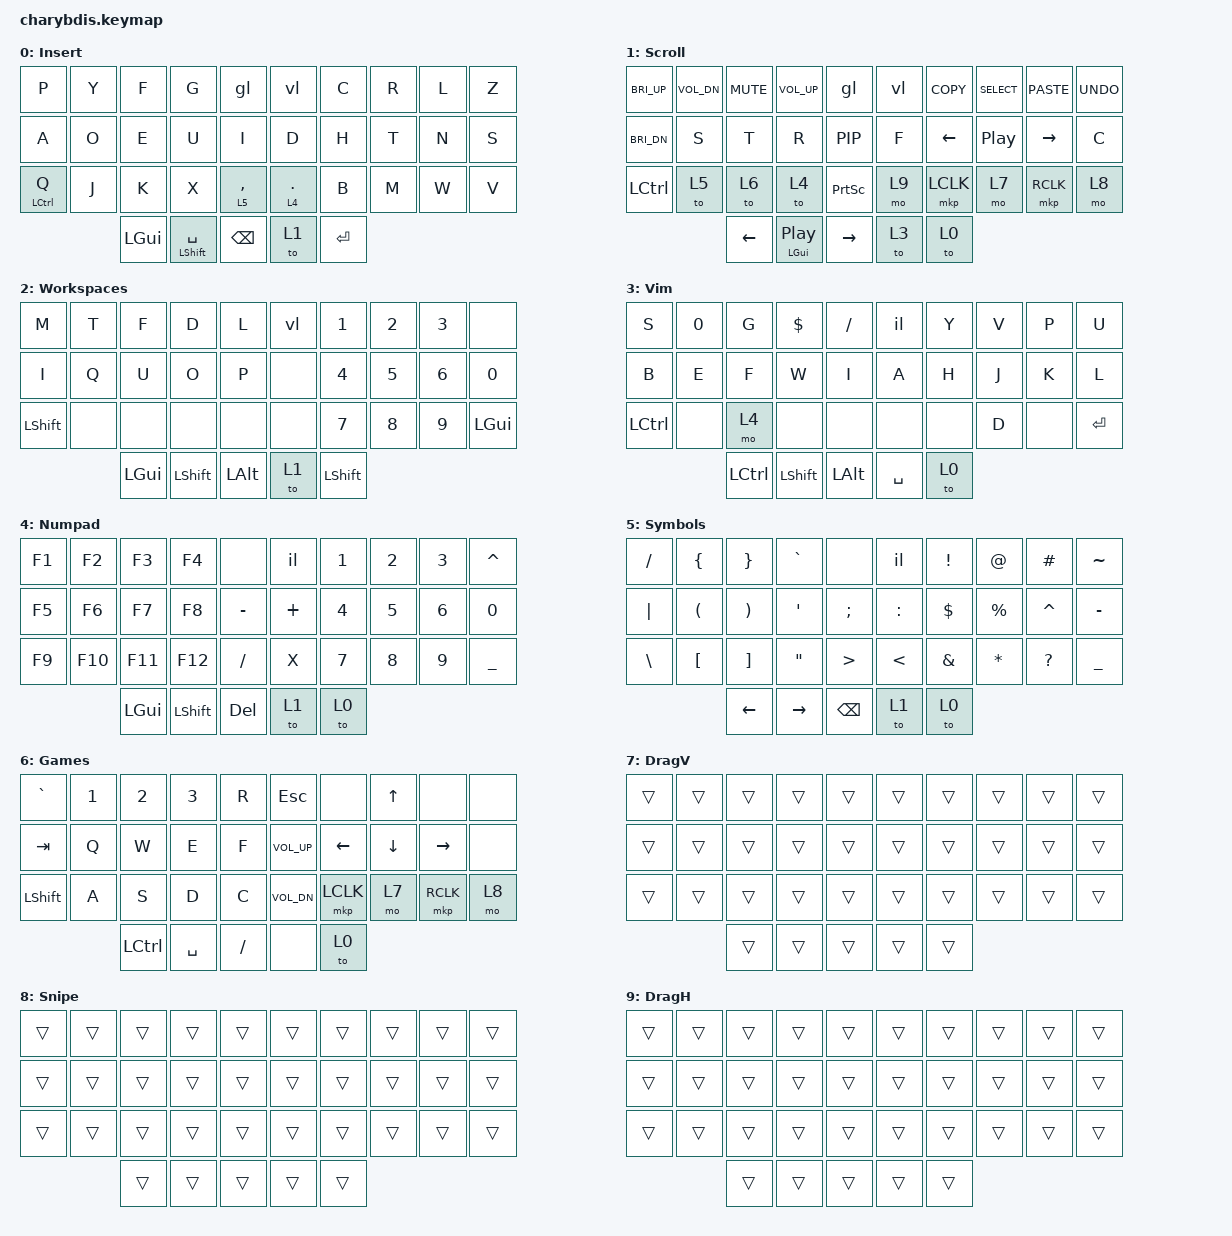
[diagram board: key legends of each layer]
#include <dt-bindings/zmk/mouse.h>
#include <behaviors/mouse_keys.dtsi>
#include <behaviors.dtsi>
#include <dt-bindings/zmk/bt.h>
#include <dt-bindings/zmk/keys.h>
#include <dt-bindings/zmk/pointing.h>

/ {
    /* input config for mouse move mode */

    trackball_listener {
        compatible = "zmk,input-behavior-listener";
        device = <&vtrackball>;
        layers = <0 1 2 3 4 5 6>;
        evt-type = <INPUT_EV_REL>;
        x-input-code = <INPUT_REL_X>;
        y-input-code = <INPUT_REL_Y>;
        scale-multiplier = <1>;
        scale-divisor = <2>;
    };

    /* input config for snipe mode */

    trackball_snipe_listener {
        compatible = "zmk,input-behavior-listener";
        device = <&vtrackball>;
        layers = <8>;
        evt-type = <INPUT_EV_REL>;
        x-input-code = <INPUT_REL_X>;
        y-input-code = <INPUT_REL_Y>;
        scale-multiplier = <1>;
        scale-divisor = <12>;
    };

    /* input config for mouse vertical scroll mode */

    trackball_y_scroll_listener {
        compatible = "zmk,input-behavior-listener";
        device = <&vtrackball>;
        layers = <7>;
        evt-type = <INPUT_EV_REL>;
        x-input-code = <INPUT_REL_MISC>;
        y-input-code = <INPUT_REL_WHEEL>;
        scale-divisor = <6>;
        bindings = <&ib_wheel_scaler 1 8>;
    };

    /* input config for mouse horizontal scroll mode */

    trackball_x_scroll_listener {
        compatible = "zmk,input-behavior-listener";
        device = <&vtrackball>;
        layers = <9>;
        evt-type = <INPUT_EV_REL>;
        x-input-code = <INPUT_REL_WHEEL>;
        y-input-code = <INPUT_REL_MISC>;
        scale-divisor = <6>;
        bindings = <&ib_wheel_scaler 1 8>;
    };

    /* define a resolution down scaler only for INPUT_REL_WHEEL */

    ib_wheel_scaler: ib_wheel_scaler {
        compatible = "zmk,input-behavior-scaler";
        #binding-cells = <2>;
        evt-type = <INPUT_EV_REL>;
        input-code = <INPUT_REL_WHEEL>;
    };

    behaviors {
        vl: esc_to_vim {
            compatible = "zmk,behavior-tap-dance";
            label = "esc_to_vim";
            #binding-cells = <0>;
            bindings = <&kp ESC>, <&to 4>;
        };

        il: esc_to_insert {
            compatible = "zmk,behavior-tap-dance";
            label = "esc_to_insert";
            #binding-cells = <0>;
            bindings = <&kp ESC>, <&to 0>;
        };

        nut: num_toggle {
            compatible = "zmk,behavior-hold-tap";
            label = "num_toggle";
            bindings = <&to>, <&kp>;

            #binding-cells = <2>;
            hold-trigger-key-positions = <25>;
            flavor = "balanced";
            tapping-term-ms = <200>;
            hold-trigger-on-release;
        };

        syt: sym_toggle {
            compatible = "zmk,behavior-hold-tap";
            label = "sym_toggle";
            bindings = <&to>, <&kp>;

            #binding-cells = <2>;
            hold-trigger-key-positions = <24>;
            flavor = "balanced";
            tapping-term-ms = <200>;
            hold-trigger-on-release;
        };

        gl: esc_to_games {
            compatible = "zmk,behavior-tap-dance";
            label = "esc_to_games";
            #binding-cells = <0>;
            bindings = <&kp ESC>, <&to 6>;
        };
    };

    // ╭──────┬──────┬──────┬──────┬──────╮  ╭──────┬──────┬──────┬──────┬──────╮
    //    00     01     02     03     04        05     06     07     08     09
    // ├──────┼──────┼──────┼──────┼──────┼  ├──────┼──────┼──────┼──────┼──────┤
    //    10     11     12     13     14        15     16     17     18     19
    // ├──────┼──────┼──────┼──────┼──────┼  ├──────┼──────┼──────┼──────┼──────┤
    //    20     21     22     23     24        25     26     27     28     29
    // ╰──────┴──────┴──────┼──────┼──────┤  ├──────┼──────┴──────┴──────┴──────╯
    //                  30     31     32        33     34
    //               ╰──────┴──────┴──────╯  ╰──────┴──────╯

    combos {
        compatible = "zmk,combos";

        combo_bt1 {
            bindings = <&bt BT_SEL 1>;
            key-positions = <23 24>;
        };

        combo_bt2 {
            bindings = <&bt BT_SEL 2>;
            key-positions = <25 26>;
        };

        combo_bt_clear_all {
            bindings = <&bt BT_CLR_ALL>;
            key-positions = <23 24 25 26>;
        };

        combo_lang {
            bindings = <&kp LG(SPACE)>;
            key-positions = <12 13>;
        };
    };

    keymap {
        compatible = "zmk,keymap";

        Insert {
            bindings = <
  &kp P        &kp Y  &kp F     &kp G             &gl              &vl            &kp C      &kp R  &kp L  &kp Z
  &kp A        &kp O  &kp E     &kp U             &kp I            &kp D          &kp H      &kp T  &kp N  &kp S
  &mt LCTRL Q  &kp J  &kp K     &kp X             &syt 5 COMMA     &nut 4 PERIOD  &kp B      &kp M  &kp W  &kp V
                      &kp LGUI  &mt LSHIFT SPACE  &kp BACKSPACE    &to 1          &kp ENTER
            >;
        };

        Scroll {
            bindings = <
  &kp C_BRI_UP  &kp C_VOL_DN  &kp K_MUTE  &kp C_VOL_UP           &gl                &vl    &kp K_COPY  &kp K_SELECT  &kp K_PASTE  &kp K_UNDO
  &kp C_BRI_DN  &kp S         &kp T       &kp R                  &kp C_PIP          &kp F  &kp LEFT    &kp C_PP      &kp RIGHT    &kp C
  &kp LCTRL     &to 5         &to 6       &to 4                  &kp PRINTSCREEN    &mo 9  &mkp LCLK   &mo 7         &mkp RCLK    &mo 8
                              &kp LEFT    &mt LGUI C_PLAY_PAUSE  &kp RIGHT          &to 3  &to 0
            >;
        };

        Workspaces {
            bindings = <
  &kp M      &kp T  &kp F     &kp D      &kp L       &vl    &kp N1      &kp N2  &kp N3  &none
  &kp I      &kp Q  &kp U     &kp O      &kp P       &none  &kp N4      &kp N5  &kp N6  &kp N0
  &kp LSHFT  &none  &none     &none      &none       &none  &kp N7      &kp N8  &kp N9  &kp LGUI
                    &kp LGUI  &kp LSHFT  &kp LALT    &to 1  &kp LSHIFT
            >;
        };

        Vim {
            bindings = <
  &kp S      &kp N0  &kp G      &kp DLLR   &kp FSLH    &il        &kp Y  &kp V  &kp P  &kp U
  &kp B      &kp E   &kp F      &kp W      &kp I       &kp A      &kp H  &kp J  &kp K  &kp L
  &kp LCTRL  &none   &mo 4      &none      &none       &none      &none  &kp D  &none  &kp ENTER
                     &kp LCTRL  &kp LSHFT  &kp LALT    &kp SPACE  &to 0
            >;
        };

        Numpad {
            bindings = <
  &kp F1  &kp F2   &kp F3    &kp F4      &none        &il       &kp N1  &kp N2  &kp N3  &kp CARET
  &kp F5  &kp F6   &kp F7    &kp F8      &kp MINUS    &kp PLUS  &kp N4  &kp N5  &kp N6  &kp N0
  &kp F9  &kp F10  &kp F11   &kp F12     &kp SLASH    &kp X     &kp N7  &kp N8  &kp N9  &kp UNDER
                   &kp LGUI  &kp LSHIFT  &kp DEL      &to 1     &to 0
            >;
        };

        Symbols {
            bindings = <
  &kp SLASH  &kp LBRC  &kp RBRC  &kp GRAVE  &none            &il        &kp EXCL  &kp AT     &kp HASH   &kp TILDE
  &kp PIPE   &kp LPAR  &kp RPAR  &kp SQT    &kp SEMI         &kp COLON  &kp DLLR  &kp PRCNT  &kp CARET  &kp MINUS
  &kp BSLH   &kp LBKT  &kp RBKT  &kp DQT    &kp GT           &kp LT     &kp AMPS  &kp ASTRK  &kp QMARK  &kp UNDER
                       &kp LEFT  &kp RIGHT  &kp BACKSPACE    &to 1      &to 0
            >;
        };

        Games {
            bindings = <
  &kp GRAVE  &kp N1  &kp N2     &kp N3     &kp R       &kp ESC       &none      &kp UP    &none      &none
  &kp TAB    &kp Q   &kp W      &kp E      &kp F       &kp C_VOL_UP  &kp LEFT   &kp DOWN  &kp RIGHT  &none
  &kp LSHFT  &kp A   &kp S      &kp D      &kp C       &kp C_VOL_DN  &mkp LCLK  &mo 7     &mkp RCLK  &mo 8
                     &kp LCTRL  &kp SPACE  &kp FSLH    &none         &to 0
            >;
        };

        DragV {
            bindings = <
  &trans  &trans  &trans  &trans  &trans    &trans  &trans  &trans  &trans  &trans
  &trans  &trans  &trans  &trans  &trans    &trans  &trans  &trans  &trans  &trans
  &trans  &trans  &trans  &trans  &trans    &trans  &trans  &trans  &trans  &trans
                  &trans  &trans  &trans    &trans  &trans
            >;
        };

        Snipe {
            bindings = <
  &trans  &trans  &trans  &trans  &trans    &trans  &trans  &trans  &trans  &trans
  &trans  &trans  &trans  &trans  &trans    &trans  &trans  &trans  &trans  &trans
  &trans  &trans  &trans  &trans  &trans    &trans  &trans  &trans  &trans  &trans
                  &trans  &trans  &trans    &trans  &trans
            >;
        };

        DragH {
            bindings = <
  &trans  &trans  &trans  &trans  &trans    &trans  &trans  &trans  &trans  &trans
  &trans  &trans  &trans  &trans  &trans    &trans  &trans  &trans  &trans  &trans
  &trans  &trans  &trans  &trans  &trans    &trans  &trans  &trans  &trans  &trans
                  &trans  &trans  &trans    &trans  &trans
            >;
        };
    };

    conditional_layers { compatible = "zmk,conditional-layers"; };
};
